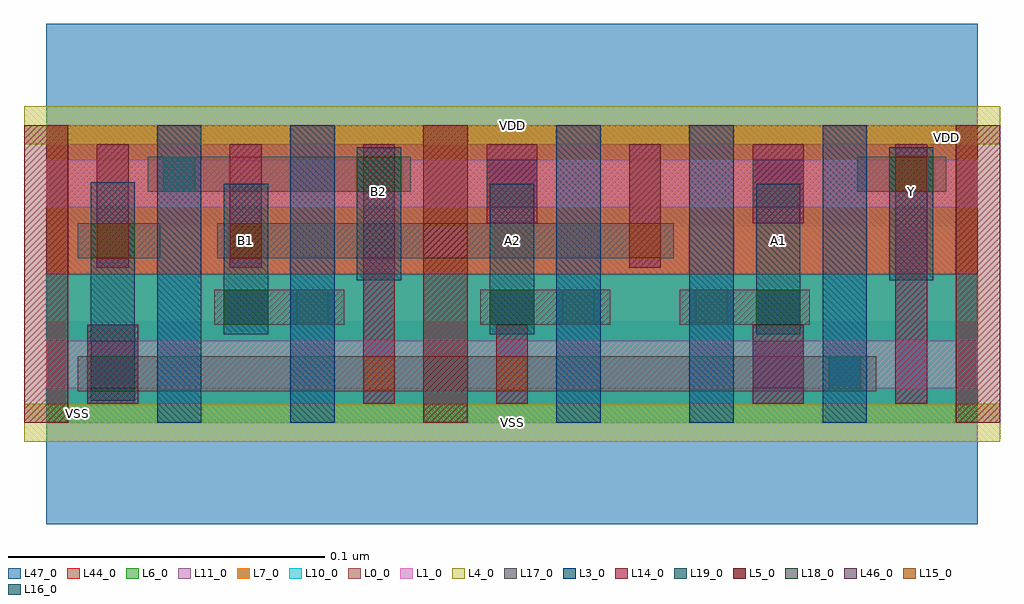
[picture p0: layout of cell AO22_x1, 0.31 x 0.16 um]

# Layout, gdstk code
import gdstk
lib = gdstk.Library(unit=1e-6, precision=5e-10)
def R(c, l, rs):  # rectangles x0, y0, x1, y1
    for r in rs: c.add(gdstk.rectangle(r[:2], r[2:], *l))
def A(c, l, x, y, w, h, nx, ny, dx, dy):  # array of equal rectangles
    R(c, l, [(x+i*dx, y+j*dy, x+i*dx+w, y+j*dy+h) for i in range(nx) for j in range(ny)])
L0_0 = (0, 0)
L1_0 = (1, 0)
L3_0 = (3, 0)
L4_0 = (4, 0)
L5_0 = (5, 0)
L6_0 = (6, 0)
L7_0 = (7, 0)
L10_0 = (10, 0)
L11_0 = (11, 0)
L14_0 = (14, 0)
L15_0 = (15, 0)
L16_0 = (16, 0)
L17_0 = (17, 0)
L18_0 = (18, 0)
L19_0 = (19, 0)
L44_0 = (44, 0)
L46_0 = (46, 0)
L47_0 = (47, 0)

ao22_x1 = lib.new_cell('AO22_x1')
R(ao22_x1, L0_0, [(0,0.047,0.294,0.094)])
R(ao22_x1, L1_0, [(0,0.011,0.294,0.026), (0,0.068,0.294,0.083)])
A(ao22_x1, L3_0, 0.161, 0, 0.014, 0.094, 3, 1, 0.042, 0)
R(ao22_x1, L3_0, [(0.035,0,0.049,0.094), (0.077,0,0.091,0.094)])
R(ao22_x1, L4_0, [(-0.007,-0.006,0.301,0.006), (-0.007,0.088,0.301,0.1)])
R(ao22_x1, L5_0, [(-0.007,0,0.007,0.094), (0.119,0,0.133,0.094), (0.287,0,0.301,0.094)])
R(ao22_x1, L6_0, [(0,0,0.294,0.047)])
R(ao22_x1, L7_0, [(0,0.047,0.294,0.094)])
R(ao22_x1, L10_0, [(0,0,0.294,0.047)])
R(ao22_x1, L11_0, [(0,0.047,0.294,0.094)])
R(ao22_x1, L14_0, [(0.013,0.006,0.029,0.031), (0.1,0.006,0.11,0.088), (0.142,0.006,0.152,0.031), (0.223,0.006,0.239,0.031), (0.268,0.006,0.278,0.088), (0.016,0.049,0.026,0.088), (0.058,0.049,0.068,0.088), (0.184,0.049,0.194,0.088), (0.139,0.063,0.155,0.088), (0.223,0.063,0.239,0.088)])
R(ao22_x1, L15_0, [(0.1,0.01,0.11,0.021), (0.142,0.01,0.152,0.021), (0.016,0.052,0.026,0.063), (0.058,0.052,0.068,0.063), (0.184,0.052,0.194,0.063), (0.268,0.073,0.278,0.084)])
R(ao22_x1, L16_0, [(0.247,0.01,0.257,0.021), (0.079,0.031,0.089,0.042), (0.163,0.031,0.173,0.042), (0.205,0.031,0.215,0.042), (0.037,0.073,0.047,0.084)])
R(ao22_x1, L17_0, [(0.01,0.01,0.262,0.021), (0.053,0.031,0.094,0.042), (0.137,0.031,0.178,0.042), (0.2,0.031,0.241,0.042), (0.01,0.052,0.036,0.063), (0.054,0.052,0.198,0.063), (0.032,0.073,0.115,0.084), (0.256,0.073,0.284,0.084)])
A(ao22_x1, L18_0, 0.056, 0.031, 0.014, 0.011, 3, 1, 0.084, 0)
R(ao22_x1, L18_0, [(0.014,0.01,0.028,0.021), (0.014,0.052,0.028,0.063), (0.098,0.073,0.112,0.084), (0.266,0.073,0.28,0.084)])
A(ao22_x1, L19_0, 0.056, 0.028, 0.014, 0.0475, 3, 1, 0.084, 0)
R(ao22_x1, L19_0, [(0.014,0.007,0.028,0.076), (0.098,0.045,0.112,0.087), (0.266,0.045,0.28,0.087)])
R(ao22_x1, L44_0, [(0,0,0.294,0.094)])
R(ao22_x1, L46_0, [(0.013,0.011,0.029,0.026), (0.223,0.011,0.239,0.026), (0.139,0.068,0.155,0.083), (0.223,0.068,0.239,0.083)])
R(ao22_x1, L47_0, [(0,-0.032,0.294,0.032), (0,0.062,0.294,0.126)])
ao22_x1.add(gdstk.Label('VDD', (0.284,0.09), layer=0, texttype=2))
ao22_x1.add(gdstk.Label('VSS', (0.147,0), layer=47, texttype=2))
ao22_x1.add(gdstk.Label('VDD', (0.147,0.094), layer=47, texttype=2))
ao22_x1.add(gdstk.Label('VSS', (0.01,0.003), layer=54, texttype=2))
ao22_x1.add(gdstk.Label('A1', (0.231,0.0575), layer=19, texttype=2))
ao22_x1.add(gdstk.Label('A2', (0.147,0.0575), layer=19, texttype=2))
ao22_x1.add(gdstk.Label('B1', (0.063,0.0575), layer=19, texttype=2))
ao22_x1.add(gdstk.Label('B2', (0.105,0.073), layer=19, texttype=2))
ao22_x1.add(gdstk.Label('Y', (0.273,0.073), layer=19, texttype=2))

lib.write_gds('AO22_x1.gds')
